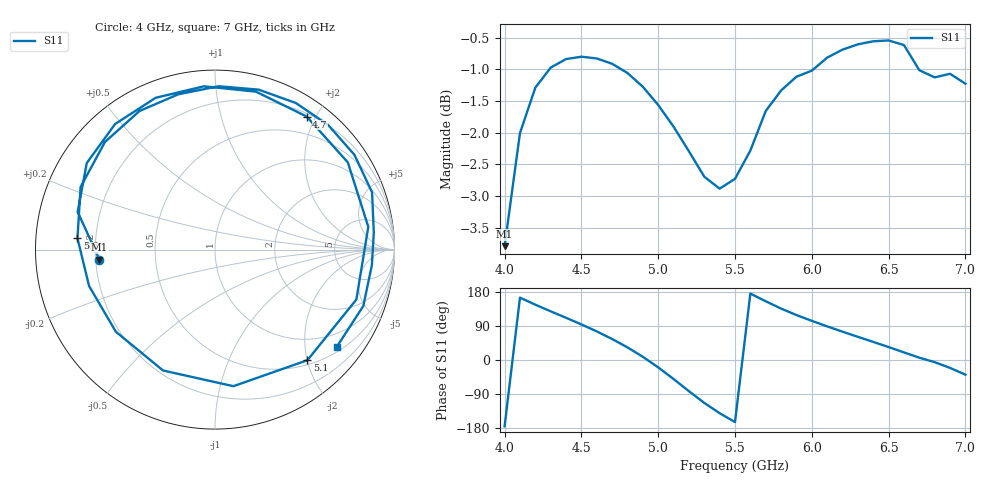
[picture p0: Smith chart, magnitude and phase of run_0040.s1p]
! Touchstone file exported from HFSS 2024.2.0
!  File:  C:/Users/wsak9/Desktop/Sim Fast/Widenad Patch/WP_AI_V1_sweep.aedt
!  Generated:  04:28:10 PM Oct 13, 2026
!  Design:  A1_model
!  Project:  WP_AI_V1_sweep
!  Setup:  Setup1
!  Solution:  Sweep
! Variables:
!  Air_gap = 1.94mm
!  Curve_Amp1 = 2.6
!  Curve_len1 = 1
!  Curve_pos = 13.485mm
!  Extra = 5.52mm
!  H_sub = 0.79mm
!  L_Patch = 22.97mm
!  L_Patch1 = 18.79mm
!  Sx = 0.43mm
!  Sy = 2.76mm
!  WS = 0.93mm
!  W_Patch = 22.5mm
!  W_Patch1 = 13.27mm
!Data is not renormalized
# GHz S MA
! Terminal data exported
! Port[1] = 1
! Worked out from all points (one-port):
!   31 points, 4 GHz to 7 GHz, reference per port
!   lowest |S11| = -3.8 dB at 4 GHz (marker M1), VSWR 4.65
!   |S11| at or under -10 dB: nowhere
!   S11 on the Smith chart (normalised r, x): 4 GHz: 0.22, -0.04; 4.7 GHz: 0.24, +1.88; 5.1 GHz: 0.58, -2.00; 5.6 GHz: 0.13, +0.04; 7 GHz: 0.62, -2.72
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4  0.6461 -175.0
4.1  0.7937 164.6
4.2  0.862 146.0
4.3  0.894 128.5
4.4  0.908 111.4
4.5  0.9119 93.9
4.6  0.909 75.4
4.7  0.9003 55.4
4.8  0.8853 33.3
4.9  0.8634 8.4
5  0.8353 -19.5
5.1  0.803 -50.1
5.2  0.7678 -82.3
5.3  0.7332 -113.2
5.4  0.7174 -140.4
5.5  0.7303 -163.9
5.6  0.7688 175.3
5.7  0.8261 155.0
5.8  0.8576 135.7
5.9  0.8793 118.6
6.1  0.9104 88.8
6.2  0.9237 74.7
6.3  0.9327 61.1
6.5  0.9393 34.2
6.6  0.9315 20.0
6.7  0.8898 6.1
6.9  0.8841 -20.8
7  0.8682 -38.7
